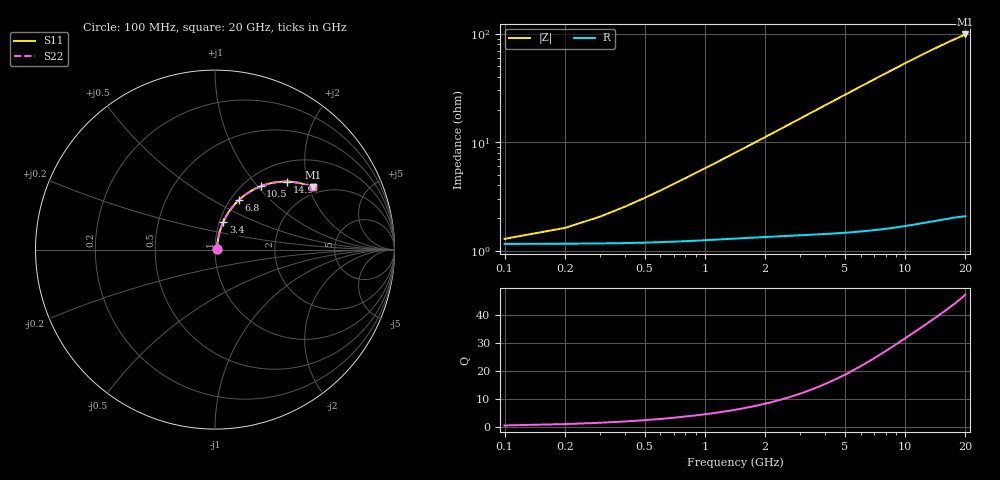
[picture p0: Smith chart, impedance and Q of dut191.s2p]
! Touchstone file exported from HFSS 2026.1.0
!  File:  C:/ffzhzh/LocalFiles/Ansys_Project_Files/temp_train_BSMRDL_191_1782987498_40604.aedt
!  Generated:  06:20:36 PM Jul  2, 2026
!  Design:  BSMRDL
!  Project:  temp_train_BSMRDL_191_1782987498_40604
! Variables:
!  h_bsmrdl = 2.17um
!  h_ox = 20um
!  h_rdl = 5um
!  h_sub = 80um
!  h_tmrdl = 5um
!  h_tsv = 80um
!  h_via = 3um
!  l_bsmrdl = 725.81um
!  l_sub = 1125.81um
!  l_tmrdl = 200um
!  m_sub = 200um
!  pitch = 55.9um
!  r_tsv = 6um
!  s_tmrdl = 10um
!  w_bsmrdl = 10.27um
!  w_sub = 500um
!  w_tmrdl = 12um
!  x_tsv_center1 = 206um
!  x_tsv_center2 = 942.08um
!  x_tsv_center3 = 1154.08um
!  x_tsv_center4 = 1890.16um
!  x_tsv_center5 = 2102.16um
!  x_tsv_center6 = 2838.24um
# GHz S MA R 50.000000
! Terminal data exported
! Port[1] = BSM_RDL1_1_T1
! Port[2] = BSM_RDL1_1_T2
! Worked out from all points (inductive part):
!   200 points, 100 MHz to 20 GHz, reference 50 ohm
!   read as one part in series: L = 891 pH near 700 MHz
!   highest Q = 47.4 at 20 GHz (marker M1), where L = 783 pH
!   S11 on the Smith chart (normalised r, x): 100 MHz: 1.02, +0.01; 3.4 GHz: 1.04, +0.33; 6.8 GHz: 1.09, +0.66; 10.5 GHz: 1.19, +1.04; 14.9 GHz: 1.39, +1.51; 20 GHz: 1.78, +2.12
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0.1  0.01243 23.1  0.9886 -0.4  0.9886 -0.4  0.01243 23.1
! Gamma 0 0 0 0
! Port Impedance 50 0 50 0
0.4  0.02291 58.1  0.9882 -1.4  0.9882 -1.4  0.02291 58.1
0.6  0.03178 66.0  0.9877 -2.1  0.9877 -2.1  0.03178 66.0
0.7  0.03636 68.3  0.9875 -2.5  0.9875 -2.5  0.03636 68.3
0.9  0.04561 71.3  0.9868 -3.2  0.9868 -3.2  0.04561 71.3
1.2  0.05955 73.6  0.9858 -4.2  0.9858 -4.2  0.05955 73.6
1.6  0.07812 74.9  0.9842 -5.6  0.9842 -5.6  0.07812 74.9
2.1  0.1012 75.2  0.9818 -7.3  0.9818 -7.3  0.1012 75.2
2.7  0.1288 74.6  0.9783 -9.4  0.9783 -9.4  0.1288 74.6
3.4  0.1605 73.3  0.9735 -11.8  0.9735 -11.8  0.1605 73.3
3.5  0.165 73.1  0.9727 -12.1  0.9727 -12.1  0.165 73.1
4.2  0.1961 71.5  0.9668 -14.5  0.9668 -14.5  0.1961 71.5
5  0.2307 69.4  0.9591 -17.1  0.9591 -17.1  0.2307 69.4
5.9  0.2684 66.9  0.9492 -20.0  0.9492 -20.0  0.2684 66.9
6.8  0.3045 64.4  0.9382 -22.9  0.9382 -22.9  0.3045 64.4
8.3  0.3611 60.2  0.9179 -27.5  0.9179 -27.5  0.3611 60.2
10.1  0.4225 55.2  0.8913 -32.7  0.8913 -32.7  0.4225 55.2
10.5  0.4352 54.2  0.8852 -33.8  0.8852 -33.8  0.4352 54.2
13.4  0.5171 46.8  0.8403 -41.5  0.8403 -41.5  0.5171 46.8
14.9  0.5528 43.2  0.8175 -45.1  0.8175 -45.1  0.5528 43.2
16.7  0.5903 39.2  0.7912 -49.2  0.7912 -49.2  0.5903 39.2
20  0.6459 32.5  0.7474 -56.1  0.7474 -56.1  0.6459 32.5
